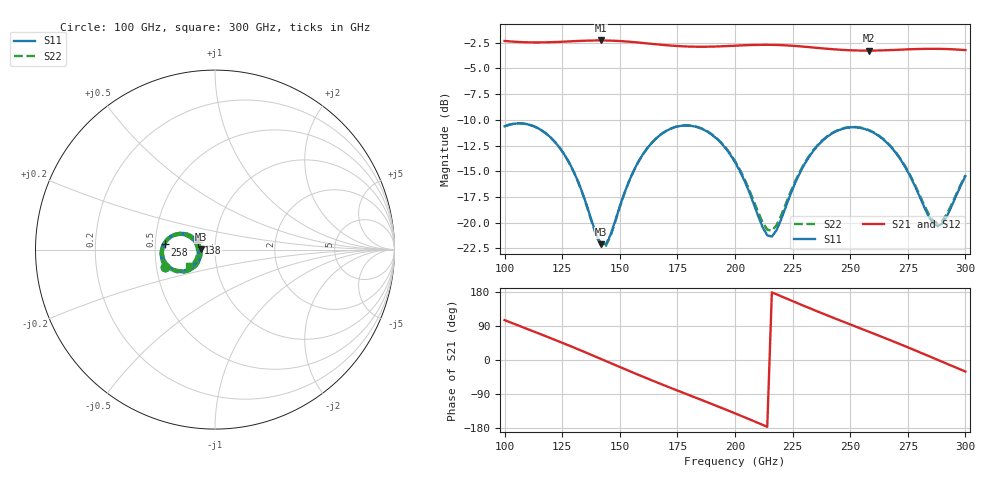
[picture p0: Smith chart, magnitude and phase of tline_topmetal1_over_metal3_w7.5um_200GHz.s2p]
#  GHZ S DB R 50
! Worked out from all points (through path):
!   101 points, 100 GHz to 300 GHz, reference 50 ohm
!   highest |S21| = -2.30 dB at 142 GHz (marker M1); lowest = -3.3 dB at 258 GHz (marker M2)
!   group delay of S21, straight-line fit = 6.89 ps
!   lowest |S11| = -22.1 dB at 142 GHz (marker M3), VSWR 1.17, Z = 42.7 + j0.184 ohm
!   |S11| at or under -10 dB: start of sweep to end of sweep
!   |S22| runs from -22.3 to -10.3 dB; largest |S21 - S12| = 8.7e-14
!   S11 on the Smith chart (normalised r, x): 100 GHz: 0.56, -0.12; 138 GHz: 0.83, +0.07; 258 GHz: 0.56, +0.03; 300 GHz: 0.74, -0.14
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100  -10.64 -160.7  -2.35 105.3  -2.35 105.3  -10.64 -160.6
108  -10.36 -175.7  -2.46 86.2  -2.46 86.2  -10.36 -175.7
116  -11.02 169.7  -2.49 67.2  -2.49 67.2  -11.02 169.7
126  -13.40 154.1  -2.41 43.0  -2.41 43.0  -13.41 154.0
134  -17.24 149.6  -2.33 22.9  -2.33 22.9  -17.28 149.4
138  -19.96 156.7  -2.30 12.7  -2.30 12.7  -20.06 156.5
142  -22.11 178.4  -2.30 2.3  -2.30 2.3  -22.28 178.6
146  -21.15 -154.4  -2.31 -8.1  -2.31 -8.1  -21.28 -153.5
154  -15.96 -139.2  -2.42 -28.7  -2.42 -28.7  -15.99 -138.3
168  -11.40 -156.4  -2.72 -63.7  -2.72 -63.7  -11.39 -155.5
184  -10.75 176.1  -2.91 -102.0  -2.91 -102.0  -10.71 177.1
200  -14.11 152.9  -2.81 -140.7  -2.81 -140.7  -14.00 154.6
212  -20.45 165.4  -2.72 -171.1  -2.72 -171.1  -19.98 167.0
216  -21.34 -171.5  -2.72 178.5  -2.72 178.5  -20.78 -171.7
224  -17.29 -143.5  -2.80 157.9  -2.80 157.9  -17.07 -145.0
234  -13.02 -148.3  -2.98 132.7  -2.98 132.7  -12.95 -149.2
246  -10.93 -166.3  -3.20 103.4  -3.20 103.4  -10.89 -166.7
258  -11.02 174.2  -3.28 74.8  -3.28 74.8  -10.99 174.1
268  -12.71 159.9  -3.23 50.7  -3.23 50.7  -12.67 160.1
278  -16.39 154.4  -3.14 25.9  -3.14 25.9  -16.28 154.9
288  -20.34 -175.9  -3.11 0.3  -3.11 0.3  -20.07 -176.3
300  -15.48 -146.2  -3.23 -30.4  -3.23 -30.4  -15.40 -147.3
